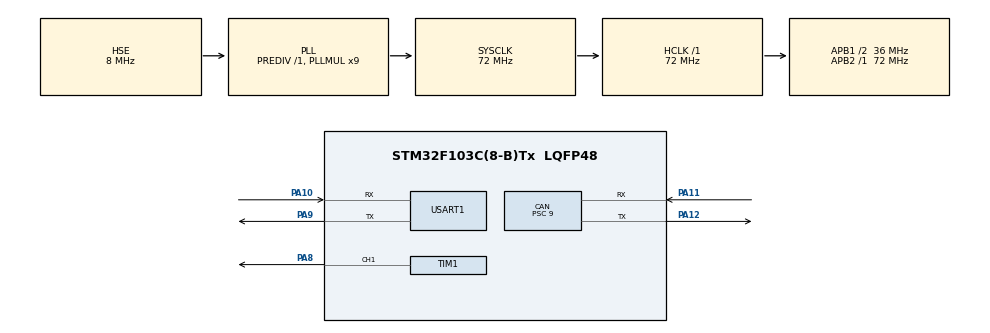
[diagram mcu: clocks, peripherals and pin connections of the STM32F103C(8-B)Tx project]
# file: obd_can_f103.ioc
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CAN.BS1=CAN_BS1_4TQ
CAN.BS2=CAN_BS2_3TQ
CAN.CalculateBaudRate=500000
CAN.CalculateTimeBit=2000
CAN.CalculateTimeQuantum=250.0
CAN.Prescaler=9
CAN.RFLM=ENABLE
CAN.TXFP=ENABLE
Mcu.Family=STM32F1
Mcu.Name=STM32F103C(8-B)Tx
Mcu.Package=LQFP48
NVIC.CAN1_SCE_IRQn=true\:0\:0\:false\:false\:true\:true\:true\:true
NVIC.PriorityGroup=NVIC_PRIORITYGROUP_4
NVIC.TIM2_IRQn=true\:0\:0\:false\:false\:true\:true\:true\:true
NVIC.USB_LP_CAN1_RX0_IRQn=true\:0\:0\:false\:false\:true\:true\:true\:true
PA10.Mode=Asynchronous
PA10.Signal=USART1_RX
PA11.GPIO_PuPd=GPIO_PULLDOWN
PA11.Mode=CAN_Activate
PA11.Signal=CAN_RX
PA12.Mode=CAN_Activate
PA12.Signal=CAN_TX
PA13.Mode=Serial_Wire
PA13.Signal=SYS_JTMS-SWDIO
PA14.Mode=Serial_Wire
PA14.Signal=SYS_JTCK-SWCLK
PA8.GPIO_Speed=GPIO_SPEED_FREQ_HIGH
PA8.Signal=S_TIM1_CH1
PA9.Mode=Asynchronous
PA9.Signal=USART1_TX
PD0-OSC_IN.Mode=HSE-External-Oscillator
PD0-OSC_IN.Signal=RCC_OSC_IN
PD1-OSC_OUT.Mode=HSE-External-Oscillator
PD1-OSC_OUT.Signal=RCC_OSC_OUT
ProjectManager.HeapSize=0x200
ProjectManager.StackSize=0x400
ProjectManager.TargetToolchain=STM32CubeIDE
RCC.AHBFreq_Value=72000000
RCC.APB1CLKDivider=RCC_HCLK_DIV2
RCC.APB1Freq_Value=36000000
RCC.APB1TimFreq_Value=72000000
RCC.APB2Freq_Value=72000000
RCC.APB2TimFreq_Value=72000000
RCC.HCLKFreq_Value=72000000
RCC.PLLMUL=RCC_PLL_MUL9
RCC.PLLSourceVirtual=RCC_PLLSOURCE_HSE
RCC.SYSCLKFreq_VALUE=72000000
RCC.SYSCLKSource=RCC_SYSCLKSOURCE_PLLCLK
RCC.USBFreq_Value=72000000
SH.S_TIM1_CH1.0=TIM1_CH1,PWM Generation1 CH1
TIM1.AutoReloadPreload=TIM_AUTORELOAD_PRELOAD_ENABLE
TIM1.Channel-PWM\ Generation1\ CH1=TIM_CHANNEL_1
TIM1.ClockDivision=TIM_CLOCKDIVISION_DIV1
TIM1.Period=9999
TIM1.Prescaler=7199
TIM1.Pulse-PWM\ Generation1\ CH1=4000
TIM2.AutoReloadPreload=TIM_AUTORELOAD_PRELOAD_ENABLE
TIM2.Period=9999
TIM2.Prescaler=7199
USART1.VirtualMode=VM_ASYNC
VP_TIM1_VS_ClockSourceINT.Mode=Internal
VP_TIM2_VS_ClockSourceINT.Mode=Internal
board=custom

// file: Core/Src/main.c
/* USER CODE BEGIN Header */
/**
  ******************************************************************************
  * @file           : main.c
  * @brief          : Main program body
  ******************************************************************************
  * @attention
  *
  * Copyright (c) 2025 STMicroelectronics.
  * All rights reserved.
  *
  * This software is licensed under terms that can be found in the LICENSE file
  * in the root directory of this software component.
  * If no LICENSE file comes with this software, it is provided AS-IS.
  *
  ******************************************************************************
  */
/* USER CODE END Header */
#include "main.h"

/* USER CODE BEGIN Includes */
#include <stdio.h>
#include <string.h>
#include "obd.h"
#include "bell.h"
/* USER CODE END Includes */

/* USER CODE BEGIN PD */

#define OVERSPEED_VALUE1 80
#define OVERSPEED_VALUE2 100
#define OVERSPEED_VALUE3 120

/* USER CODE END PD */

CAN_HandleTypeDef hcan;

TIM_HandleTypeDef htim1;
TIM_HandleTypeDef htim2;

UART_HandleTypeDef huart1;

/* USER CODE BEGIN PV */

OBD_VehicleStatusTypeDef vehicleStatus;
uint8_t overSpeedLevel = 0;
uint8_t waringFlag[4] = {0};
/* 需要更新车辆数据标志位 */
uint8_t updateFlag = 0;
/* OBD数据帧定义 */
uint8_t data[2][OBD_CAN_DLC] = {{OBD_SERVICE_TX_01, OBD_PID_ENGINE_RPM    , OBD_TX_PLACEHOLDER},
                                {OBD_SERVICE_TX_01, OBD_PID_VEHICLE_SPEED , OBD_TX_PLACEHOLDER}};

/* USER CODE END PV */

void SystemClock_Config(void);
static void MX_GPIO_Init(void);
static void MX_CAN_Init(void);
static void MX_USART1_UART_Init(void);
static void MX_TIM2_Init(void);
static void MX_TIM1_Init(void);

int main(void)
{

  /* MCU Configuration--------------------------------------------------------*/

  /* Reset of all peripherals, Initializes the Flash interface and the Systick. */
  HAL_Init();

  /* Configure the system clock */
  SystemClock_Config();

  /* Initialize all configured peripherals */
  MX_GPIO_Init();
  MX_CAN_Init();
  MX_USART1_UART_Init();
  MX_TIM2_Init();
  MX_TIM1_Init();
  /* USER CODE BEGIN 2 */

  /* 打开CAN外设，及其错误处理 */
  if (OBD_Init(&hcan) != HAL_OK) printf("CAN open failed\n");
  /* 进行首次数据发送 */
  for (uint8_t i = 0; i < 2; ++i) {
    OBD_TxMessage(data[i]);
  }
  /* 使能更新数据计时器 */
  HAL_TIM_Base_Start_IT(&htim2);
  BELL_Init(&htim1, TIM_CHANNEL_1);

  /* USER CODE END 2 */

  /* Infinite loop */
  /* USER CODE BEGIN WHILE */
  while (1)
  {
    /* 缓存区处理函数，应被频繁调用 */
    OBD_TxBufferProcess();
    OBD_RxBufferProcess();
    switch (vehicleStatus.speed) {
      case 0 ... (OVERSPEED_VALUE1 - 1):
        overSpeedLevel = 0;
        break;
      case OVERSPEED_VALUE1 ... (OVERSPEED_VALUE2 - 1):
        overSpeedLevel = 1;
        break;
      case OVERSPEED_VALUE2 ... (OVERSPEED_VALUE3 - 1):
        overSpeedLevel = 2;
        break;
      case OVERSPEED_VALUE3 ... 255:
        overSpeedLevel = 3;
        break;
      default:
        overSpeedLevel = 0;
        break;
    }
    for (uint8_t i = overSpeedLevel + 1; i <= 3; ++i) {
      waringFlag[i] = 0;  //清除高于当前速度等级的响铃标志位
    }
    if (BELL_GetState() == BELL_FORVER && overSpeedLevel < 3) BELL_Stop();
    else if (!waringFlag[overSpeedLevel] && overSpeedLevel > 0) {
      if ((overSpeedLevel == 3 ? BELL_StartForver() : BELL_Start(overSpeedLevel)) == HAL_OK)
        waringFlag[overSpeedLevel] = 1;
    }
    /* 数据更新处理 */
    if (updateFlag) {
      updateFlag = 0;
      OBD_GetVehicleStatus(&vehicleStatus);   //获取车辆状态
      printf("Engine RPM: %d\nVehicle Speed: %d\n\n", vehicleStatus.engineRPM, vehicleStatus.speed);  //呈现车辆参数
    }
    /* CAN错误处理 */
    if (vehicleStatus.canStatus != HAL_CAN_ERROR_NONE) {
      if (vehicleStatus.canStatus & HAL_CAN_ERROR_BOF && vehicleStatus.speed != 0) printf("Car power off\n"); //CAN错误离线处理（错误计数>255）
      else if (vehicleStatus.canStatus & HAL_CAN_ERROR_EWG) printf("CAN Warning\n");                 //CAN错误警告处理（错误计数>96）
      else printf("CAN ERROR, please check\n");   //其他错误处理
    }
    /* 发送缓存空，执行下批次发送 */
    if (OBD_GetTxBufferState() == BUFFER_EMPTY) {
      for (uint8_t i = 0; i < 2; ++i) {
        OBD_TxMessage(data[i]);
      }
    }
    /* USER CODE END WHILE */

  }
}

void SystemClock_Config(void)
{
  RCC_OscInitTypeDef RCC_OscInitStruct = {0};
  RCC_ClkInitTypeDef RCC_ClkInitStruct = {0};

  /** Initializes the RCC Oscillators according to the specified parameters
  * in the RCC_OscInitTypeDef structure.
  */
  RCC_OscInitStruct.OscillatorType = RCC_OSCILLATORTYPE_HSE;
  RCC_OscInitStruct.HSEState = RCC_HSE_ON;
  RCC_OscInitStruct.HSEPredivValue = RCC_HSE_PREDIV_DIV1;
  RCC_OscInitStruct.HSIState = RCC_HSI_ON;
  RCC_OscInitStruct.PLL.PLLState = RCC_PLL_ON;
  RCC_OscInitStruct.PLL.PLLSource = RCC_PLLSOURCE_HSE;
  RCC_OscInitStruct.PLL.PLLMUL = RCC_PLL_MUL9;
  if (HAL_RCC_OscConfig(&RCC_OscInitStruct) != HAL_OK)
  {
    Error_Handler();
  }

  /** Initializes the CPU, AHB and APB buses clocks
  */
  RCC_ClkInitStruct.ClockType = RCC_CLOCKTYPE_HCLK|RCC_CLOCKTYPE_SYSCLK
                              |RCC_CLOCKTYPE_PCLK1|RCC_CLOCKTYPE_PCLK2;
  RCC_ClkInitStruct.SYSCLKSource = RCC_SYSCLKSOURCE_PLLCLK;
  RCC_ClkInitStruct.AHBCLKDivider = RCC_SYSCLK_DIV1;
  RCC_ClkInitStruct.APB1CLKDivider = RCC_HCLK_DIV2;
  RCC_ClkInitStruct.APB2CLKDivider = RCC_HCLK_DIV1;

  if (HAL_RCC_ClockConfig(&RCC_ClkInitStruct, FLASH_LATENCY_2) != HAL_OK)
  {
    Error_Handler();
  }
}

static void MX_CAN_Init(void)
{

  hcan.Instance = CAN1;
  hcan.Init.Prescaler = 9;
  hcan.Init.Mode = CAN_MODE_NORMAL;
  hcan.Init.SyncJumpWidth = CAN_SJW_1TQ;
  hcan.Init.TimeSeg1 = CAN_BS1_4TQ;
  hcan.Init.TimeSeg2 = CAN_BS2_3TQ;
  hcan.Init.TimeTriggeredMode = DISABLE;
  hcan.Init.AutoBusOff = DISABLE;
  hcan.Init.AutoWakeUp = DISABLE;
  hcan.Init.AutoRetransmission = DISABLE;
  hcan.Init.ReceiveFifoLocked = ENABLE;
  hcan.Init.TransmitFifoPriority = ENABLE;
  if (HAL_CAN_Init(&hcan) != HAL_OK)
  {
    Error_Handler();
  }

}

static void MX_TIM1_Init(void)
{

  TIM_ClockConfigTypeDef sClockSourceConfig = {0};
  TIM_MasterConfigTypeDef sMasterConfig = {0};
  TIM_OC_InitTypeDef sConfigOC = {0};
  TIM_BreakDeadTimeConfigTypeDef sBreakDeadTimeConfig = {0};

  htim1.Instance = TIM1;
  htim1.Init.Prescaler = 7199;
  htim1.Init.CounterMode = TIM_COUNTERMODE_UP;
  htim1.Init.Period = 9999;
  htim1.Init.ClockDivision = TIM_CLOCKDIVISION_DIV1;
  htim1.Init.RepetitionCounter = 0;
  htim1.Init.AutoReloadPreload = TIM_AUTORELOAD_PRELOAD_ENABLE;
  if (HAL_TIM_Base_Init(&htim1) != HAL_OK)
  {
    Error_Handler();
  }
  sClockSourceConfig.ClockSource = TIM_CLOCKSOURCE_INTERNAL;
  if (HAL_TIM_ConfigClockSource(&htim1, &sClockSourceConfig) != HAL_OK)
  {
    Error_Handler();
  }
  if (HAL_TIM_PWM_Init(&htim1) != HAL_OK)
  {
    Error_Handler();
  }
  sMasterConfig.MasterOutputTrigger = TIM_TRGO_RESET;
  sMasterConfig.MasterSlaveMode = TIM_MASTERSLAVEMODE_DISABLE;
  if (HAL_TIMEx_MasterConfigSynchronization(&htim1, &sMasterConfig) != HAL_OK)
  {
    Error_Handler();
  }
  sConfigOC.OCMode = TIM_OCMODE_PWM1;
  sConfigOC.Pulse = 4000;
  sConfigOC.OCPolarity = TIM_OCPOLARITY_HIGH;
  sConfigOC.OCNPolarity = TIM_OCNPOLARITY_HIGH;
  sConfigOC.OCFastMode = TIM_OCFAST_DISABLE;
  sConfigOC.OCIdleState = TIM_OCIDLESTATE_RESET;
  sConfigOC.OCNIdleState = TIM_OCNIDLESTATE_RESET;
  if (HAL_TIM_PWM_ConfigChannel(&htim1, &sConfigOC, TIM_CHANNEL_1) != HAL_OK)
  {
    Error_Handler();
  }
  sBreakDeadTimeConfig.OffStateRunMode = TIM_OSSR_DISABLE;
  sBreakDeadTimeConfig.OffStateIDLEMode = TIM_OSSI_DISABLE;
  sBreakDeadTimeConfig.LockLevel = TIM_LOCKLEVEL_OFF;
  sBreakDeadTimeConfig.DeadTime = 0;
  sBreakDeadTimeConfig.BreakState = TIM_BREAK_DISABLE;
  sBreakDeadTimeConfig.BreakPolarity = TIM_BREAKPOLARITY_HIGH;
  sBreakDeadTimeConfig.AutomaticOutput = TIM_AUTOMATICOUTPUT_DISABLE;
  if (HAL_TIMEx_ConfigBreakDeadTime(&htim1, &sBreakDeadTimeConfig) != HAL_OK)
  {
    Error_Handler();
  }
  HAL_TIM_MspPostInit(&htim1);

}

static void MX_TIM2_Init(void)
{

  TIM_ClockConfigTypeDef sClockSourceConfig = {0};
  TIM_MasterConfigTypeDef sMasterConfig = {0};

  htim2.Instance = TIM2;
  htim2.Init.Prescaler = 7199;
  htim2.Init.CounterMode = TIM_COUNTERMODE_UP;
  htim2.Init.Period = 9999;
  htim2.Init.ClockDivision = TIM_CLOCKDIVISION_DIV1;
  htim2.Init.AutoReloadPreload = TIM_AUTORELOAD_PRELOAD_ENABLE;
  if (HAL_TIM_Base_Init(&htim2) != HAL_OK)
  {
    Error_Handler();
  }
  sClockSourceConfig.ClockSource = TIM_CLOCKSOURCE_INTERNAL;
  if (HAL_TIM_ConfigClockSource(&htim2, &sClockSourceConfig) != HAL_OK)
  {
    Error_Handler();
  }
  sMasterConfig.MasterOutputTrigger = TIM_TRGO_RESET;
  sMasterConfig.MasterSlaveMode = TIM_MASTERSLAVEMODE_DISABLE;
  if (HAL_TIMEx_MasterConfigSynchronization(&htim2, &sMasterConfig) != HAL_OK)
  {
    Error_Handler();
  }

}

static void MX_USART1_UART_Init(void)
{

  huart1.Instance = USART1;
  huart1.Init.BaudRate = 115200;
  huart1.Init.WordLength = UART_WORDLENGTH_8B;
  huart1.Init.StopBits = UART_STOPBITS_1;
  huart1.Init.Parity = UART_PARITY_NONE;
  huart1.Init.Mode = UART_MODE_TX_RX;
  huart1.Init.HwFlowCtl = UART_HWCONTROL_NONE;
  huart1.Init.OverSampling = UART_OVERSAMPLING_16;
  if (HAL_UART_Init(&huart1) != HAL_OK)
  {
    Error_Handler();
  }

}

static void MX_GPIO_Init(void)
{

  /* GPIO Ports Clock Enable */
  __HAL_RCC_GPIOD_CLK_ENABLE();
  __HAL_RCC_GPIOA_CLK_ENABLE();

}

/* USER CODE BEGIN 4 */

/* 利用printf格式化输出UART */
int _write(int fd, char *ptr, int len) {
  HAL_UART_Transmit(&huart1, (uint8_t*)ptr, len, 0xFFFF);
  return len;
}

/* 更新车辆数据计时器 */
void HAL_TIM_PeriodElapsedCallback(TIM_HandleTypeDef * htim) {
  if (htim == &htim2) updateFlag = 1;
}

/* USER CODE END 4 */

void Error_Handler(void)
{
  __disable_irq();
  while (1)
  {
  }
}
